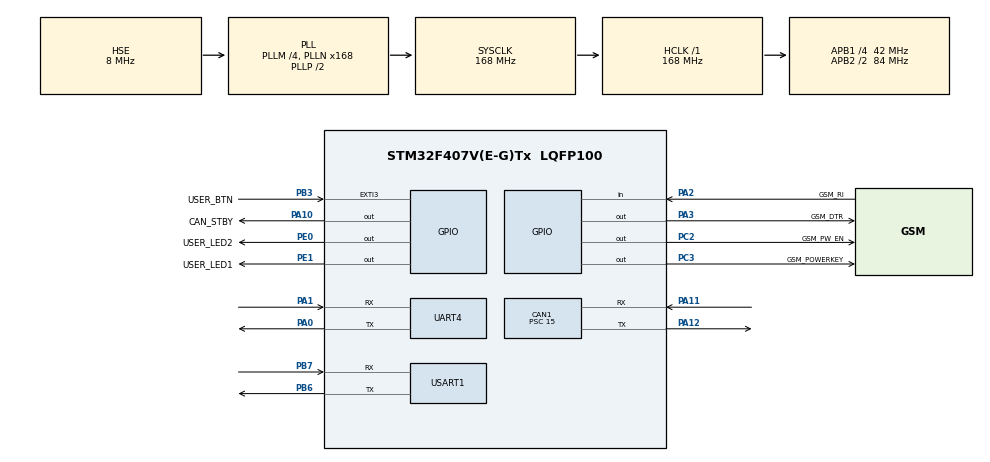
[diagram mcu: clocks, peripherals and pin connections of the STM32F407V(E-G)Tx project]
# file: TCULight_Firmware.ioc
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CAN1.ABOM=ENABLE
CAN1.BS1=CAN_BS1_4TQ
CAN1.BS2=CAN_BS2_2TQ
CAN1.CalculateBaudRate=400000
CAN1.CalculateTimeBit=2499.99
CAN1.CalculateTimeQuantum=357.14285714285717
CAN1.NART=ENABLE
CAN1.Prescaler=15
FREERTOS.BinarySemaphores01=can_com_sema,Dynamic,NULL;sim7600_sema,Dynamic,NULL
FREERTOS.Tasks01=can_com_task,24,128,can_com_task_fun,Default,NULL,Dynamic,NULL,NULL;sim7600_task,24,128,sim7600_task_fun,Default,NULL,Dynamic,NULL,NULL
Mcu.Family=STM32F4
Mcu.Name=STM32F407V(E-G)Tx
Mcu.Package=LQFP100
NVIC.CAN1_RX0_IRQn=true\:5\:0\:false\:false\:true\:true\:true\:true
NVIC.CAN1_RX1_IRQn=true\:5\:0\:false\:false\:true\:true\:true\:true
NVIC.CAN1_SCE_IRQn=true\:5\:0\:false\:false\:true\:true\:true\:true
NVIC.CAN1_TX_IRQn=true\:5\:0\:false\:false\:true\:true\:true\:true
NVIC.EXTI3_IRQn=true\:5\:0\:false\:false\:true\:true\:true\:true
NVIC.PriorityGroup=NVIC_PRIORITYGROUP_4
NVIC.TIM6_DAC_IRQn=true\:0\:0\:false\:false\:true\:false\:false\:true
NVIC.TimeBase=TIM6_DAC_IRQn
NVIC.TimeBaseIP=TIM6
PA0-WKUP.Mode=Asynchronous
PA0-WKUP.Signal=UART4_TX
PA1.Mode=Asynchronous
PA1.Signal=UART4_RX
PA10.GPIO_Label=CAN_STBY
PA10.GPIO_PuPd=GPIO_PULLDOWN
PA10.GPIO_Speed=GPIO_SPEED_FREQ_VERY_HIGH
PA10.Signal=GPIO_Output
PA11.Mode=CAN_Activate
PA11.Signal=CAN1_RX
PA12.Mode=CAN_Activate
PA12.Signal=CAN1_TX
PA13.Mode=Serial_Wire
PA13.Signal=SYS_JTMS-SWDIO
PA14.Mode=Serial_Wire
PA14.Signal=SYS_JTCK-SWCLK
PA2.GPIO_Label=GSM_RI
PA2.GPIO_PuPd=GPIO_PULLDOWN
PA2.Signal=GPIO_Input
PA3.GPIO_Label=GSM_DTR
PA3.GPIO_PuPd=GPIO_PULLDOWN
PA3.GPIO_Speed=GPIO_SPEED_FREQ_VERY_HIGH
PA3.Signal=GPIO_Output
PB3.GPIO_Label=USER_BTN
PB3.GPIO_ModeDefaultEXTI=GPIO_MODE_IT_RISING
PB3.GPIO_PuPd=GPIO_PULLDOWN
PB3.Signal=GPXTI3
PB6.Mode=Asynchronous
PB6.Signal=USART1_TX
PB7.Mode=Asynchronous
PB7.Signal=USART1_RX
PC14-OSC32_IN.Mode=LSE-External-Oscillator
PC14-OSC32_IN.Signal=RCC_OSC32_IN
PC15-OSC32_OUT.Mode=LSE-External-Oscillator
PC15-OSC32_OUT.Signal=RCC_OSC32_OUT
PC2.GPIO_Label=GSM_PW_EN
PC2.GPIO_PuPd=GPIO_PULLDOWN
PC2.GPIO_Speed=GPIO_SPEED_FREQ_VERY_HIGH
PC2.Signal=GPIO_Output
PC3.GPIO_Label=GSM_POWERKEY
PC3.GPIO_PuPd=GPIO_PULLDOWN
PC3.GPIO_Speed=GPIO_SPEED_FREQ_VERY_HIGH
PC3.Signal=GPIO_Output
PE0.GPIO_Label=USER_LED2
PE0.GPIO_PuPd=GPIO_PULLUP
PE0.GPIO_Speed=GPIO_SPEED_FREQ_VERY_HIGH
PE0.PinState=GPIO_PIN_SET
PE0.Signal=GPIO_Output
PE1.GPIO_Label=USER_LED1
PE1.GPIO_PuPd=GPIO_PULLUP
PE1.GPIO_Speed=GPIO_SPEED_FREQ_VERY_HIGH
PE1.PinState=GPIO_PIN_SET
PE1.Signal=GPIO_Output
PH0-OSC_IN.Mode=HSE-External-Oscillator
PH0-OSC_IN.Signal=RCC_OSC_IN
PH1-OSC_OUT.Mode=HSE-External-Oscillator
PH1-OSC_OUT.Signal=RCC_OSC_OUT
ProjectManager.HeapSize=0x200
ProjectManager.StackSize=0x400
ProjectManager.TargetToolchain=MDK-ARM V5
RCC.48MHZClocksFreq_Value=84000000
RCC.AHBFreq_Value=168000000
RCC.APB1CLKDivider=RCC_HCLK_DIV4
RCC.APB1Freq_Value=42000000
RCC.APB1TimFreq_Value=84000000
RCC.APB2CLKDivider=RCC_HCLK_DIV2
RCC.APB2Freq_Value=84000000
RCC.APB2TimFreq_Value=168000000
RCC.CortexFreq_Value=168000000
RCC.HCLKFreq_Value=168000000
RCC.HSE_VALUE=8000000
RCC.HSI_VALUE=16000000
RCC.PLLM=4
RCC.PLLN=168
RCC.PLLSourceVirtual=RCC_PLLSOURCE_HSE
RCC.SYSCLKFreq_VALUE=168000000
RCC.SYSCLKSource=RCC_SYSCLKSOURCE_PLLCLK
RCC.VCOOutputFreq_Value=336000000
UART4.VirtualMode=Asynchronous
USART1.VirtualMode=VM_ASYNC
VP_FREERTOS_VS_CMSIS_V2.Mode=CMSIS_V2
VP_SYS_VS_tim6.Mode=TIM6
board=custom

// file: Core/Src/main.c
/* USER CODE BEGIN Header */
/**
  ******************************************************************************
  * @file           : main.c
  * @brief          : Main program body
  ******************************************************************************
  * @attention
  *
  * <h2><center>&copy; Copyright (c) 2023 STMicroelectronics.
  * All rights reserved.</center></h2>
  *
  * This software component is licensed by ST under BSD 3-Clause license,
  * the "License"; You may not use this file except in compliance with the
  * License. You may obtain a copy of the License at:
  *                        opensource.org/licenses/BSD-3-Clause
  *
  ******************************************************************************
  */
/* USER CODE END Header */
#include "main.h"
#include "cmsis_os.h"

/* USER CODE BEGIN Includes */

#include "stdio.h"
#include "string.h"

/* USER CODE END Includes */

CAN_HandleTypeDef hcan1;

UART_HandleTypeDef huart4;
UART_HandleTypeDef huart1;

/* Definitions for can_com_task */
osThreadId_t can_com_taskHandle;
const osThreadAttr_t can_com_task_attributes = {
  .name = "can_com_task",
  .stack_size = 128 * 4,
  .priority = (osPriority_t) osPriorityNormal,
};
/* Definitions for sim7600_task */
osThreadId_t sim7600_taskHandle;
const osThreadAttr_t sim7600_task_attributes = {
  .name = "sim7600_task",
  .stack_size = 128 * 4,
  .priority = (osPriority_t) osPriorityNormal,
};
/* Definitions for can_com_sema */
osSemaphoreId_t can_com_semaHandle;
const osSemaphoreAttr_t can_com_sema_attributes = {
  .name = "can_com_sema"
};
/* Definitions for sim7600_sema */
osSemaphoreId_t sim7600_semaHandle;
const osSemaphoreAttr_t sim7600_sema_attributes = {
  .name = "sim7600_sema"
};
/* USER CODE BEGIN PV */
CAN_FilterTypeDef Scanfilter;

/* USER CODE END PV */

void SystemClock_Config(void);
static void MX_GPIO_Init(void);
static void MX_CAN1_Init(void);
static void MX_USART1_UART_Init(void);
static void MX_UART4_Init(void);
void can_com_task_fun(void *argument);
void sim7600_task_fun(void *argument);

/* USER CODE BEGIN 0 */
#ifdef __GNUC__    //debug printf configuration.
 #define PUTCHAR_PROTOTYPE int __io_putchar(int ch)
#else
 #define PUTCHAR_PROTOTYPE int fputc(int ch, FILE *f)
#endif
/* USER CODE END 0 */

int main(void)
{

  /* MCU Configuration--------------------------------------------------------*/

  /* Reset of all peripherals, Initializes the Flash interface and the Systick. */
  HAL_Init();

  /* Configure the system clock */
  SystemClock_Config();

  /* Initialize all configured peripherals */
  MX_GPIO_Init();
  MX_CAN1_Init();
  MX_USART1_UART_Init();
  MX_UART4_Init();
  /* USER CODE BEGIN 2 */
	HAL_GPIO_WritePin(USER_LED1_GPIO_Port, USER_LED1_Pin, GPIO_PIN_RESET);

	can_com_initialize();
  sim7600_initialize();
  /* USER CODE END 2 */

  /* Init scheduler */
  osKernelInitialize();

  /* Create the semaphores(s) */
  /* creation of can_com_sema */
  can_com_semaHandle = osSemaphoreNew(1, 1, &can_com_sema_attributes);

  /* creation of sim7600_sema */
  sim7600_semaHandle = osSemaphoreNew(1, 1, &sim7600_sema_attributes);

  /* USER CODE BEGIN RTOS_QUEUES */
  /* add queues, ... */
	osSemaphoreAcquire(can_com_semaHandle, osWaitForever);
  /* USER CODE END RTOS_QUEUES */

  /* Create the thread(s) */
  /* creation of can_com_task */
  can_com_taskHandle = osThreadNew(can_com_task_fun, NULL, &can_com_task_attributes);

  /* creation of sim7600_task */
  sim7600_taskHandle = osThreadNew(sim7600_task_fun, NULL, &sim7600_task_attributes);

  /* Start scheduler */
  osKernelStart();

  /* We should never get here as control is now taken by the scheduler */
  /* Infinite loop */
  while (1)
  {

  }
}

void SystemClock_Config(void)
{
  RCC_OscInitTypeDef RCC_OscInitStruct = {0};
  RCC_ClkInitTypeDef RCC_ClkInitStruct = {0};

  /** Configure the main internal regulator output voltage
  */
  __HAL_RCC_PWR_CLK_ENABLE();
  __HAL_PWR_VOLTAGESCALING_CONFIG(PWR_REGULATOR_VOLTAGE_SCALE1);
  /** Initializes the RCC Oscillators according to the specified parameters
  * in the RCC_OscInitTypeDef structure.
  */
  RCC_OscInitStruct.OscillatorType = RCC_OSCILLATORTYPE_HSE;
  RCC_OscInitStruct.HSEState = RCC_HSE_ON;
  RCC_OscInitStruct.PLL.PLLState = RCC_PLL_ON;
  RCC_OscInitStruct.PLL.PLLSource = RCC_PLLSOURCE_HSE;
  RCC_OscInitStruct.PLL.PLLM = 4;
  RCC_OscInitStruct.PLL.PLLN = 168;
  RCC_OscInitStruct.PLL.PLLP = RCC_PLLP_DIV2;
  RCC_OscInitStruct.PLL.PLLQ = 4;
  if (HAL_RCC_OscConfig(&RCC_OscInitStruct) != HAL_OK)
  {
    Error_Handler();
  }
  /** Initializes the CPU, AHB and APB buses clocks
  */
  RCC_ClkInitStruct.ClockType = RCC_CLOCKTYPE_HCLK|RCC_CLOCKTYPE_SYSCLK
                              |RCC_CLOCKTYPE_PCLK1|RCC_CLOCKTYPE_PCLK2;
  RCC_ClkInitStruct.SYSCLKSource = RCC_SYSCLKSOURCE_PLLCLK;
  RCC_ClkInitStruct.AHBCLKDivider = RCC_SYSCLK_DIV1;
  RCC_ClkInitStruct.APB1CLKDivider = RCC_HCLK_DIV4;
  RCC_ClkInitStruct.APB2CLKDivider = RCC_HCLK_DIV2;

  if (HAL_RCC_ClockConfig(&RCC_ClkInitStruct, FLASH_LATENCY_5) != HAL_OK)
  {
    Error_Handler();
  }
}

static void MX_CAN1_Init(void)
{

  hcan1.Instance = CAN1;
  hcan1.Init.Prescaler = 15;
  hcan1.Init.Mode = CAN_MODE_NORMAL;
  hcan1.Init.SyncJumpWidth = CAN_SJW_1TQ;
  hcan1.Init.TimeSeg1 = CAN_BS1_4TQ;
  hcan1.Init.TimeSeg2 = CAN_BS2_2TQ;
  hcan1.Init.TimeTriggeredMode = DISABLE;
  hcan1.Init.AutoBusOff = ENABLE;
  hcan1.Init.AutoWakeUp = DISABLE;
  hcan1.Init.AutoRetransmission = ENABLE;
  hcan1.Init.ReceiveFifoLocked = DISABLE;
  hcan1.Init.TransmitFifoPriority = DISABLE;
  if (HAL_CAN_Init(&hcan1) != HAL_OK)
  {
    Error_Handler();
  }
  /* USER CODE BEGIN CAN1_Init 2 */

  Scanfilter.FilterActivation = CAN_FILTER_ENABLE;
	Scanfilter.FilterBank = 0;
	Scanfilter.FilterFIFOAssignment = CAN_FILTER_FIFO0;
	Scanfilter.FilterIdHigh = 0x0000;
	Scanfilter.FilterIdLow = 0x0000;
	Scanfilter.FilterMaskIdHigh = 0x0000;
	Scanfilter.FilterMaskIdLow = 0x0000;
	Scanfilter.FilterMode = CAN_FILTERMODE_IDMASK;
	Scanfilter.FilterScale = CAN_FILTERSCALE_32BIT;
	Scanfilter.SlaveStartFilterBank = 14;

	if(HAL_CAN_ConfigFilter(&hcan1, &Scanfilter)!=HAL_OK)
	{
		Error_Handler();
	}
  /* USER CODE END CAN1_Init 2 */

}

static void MX_UART4_Init(void)
{

  huart4.Instance = UART4;
  huart4.Init.BaudRate = 115200;
  huart4.Init.WordLength = UART_WORDLENGTH_8B;
  huart4.Init.StopBits = UART_STOPBITS_1;
  huart4.Init.Parity = UART_PARITY_NONE;
  huart4.Init.Mode = UART_MODE_TX_RX;
  huart4.Init.HwFlowCtl = UART_HWCONTROL_NONE;
  huart4.Init.OverSampling = UART_OVERSAMPLING_16;
  if (HAL_UART_Init(&huart4) != HAL_OK)
  {
    Error_Handler();
  }

}

static void MX_USART1_UART_Init(void)
{

  huart1.Instance = USART1;
  huart1.Init.BaudRate = 115200;
  huart1.Init.WordLength = UART_WORDLENGTH_8B;
  huart1.Init.StopBits = UART_STOPBITS_1;
  huart1.Init.Parity = UART_PARITY_NONE;
  huart1.Init.Mode = UART_MODE_TX_RX;
  huart1.Init.HwFlowCtl = UART_HWCONTROL_NONE;
  huart1.Init.OverSampling = UART_OVERSAMPLING_16;
  if (HAL_UART_Init(&huart1) != HAL_OK)
  {
    Error_Handler();
  }

}

static void MX_GPIO_Init(void)
{
  GPIO_InitTypeDef GPIO_InitStruct = {0};

  /* GPIO Ports Clock Enable */
  __HAL_RCC_GPIOC_CLK_ENABLE();
  __HAL_RCC_GPIOH_CLK_ENABLE();
  __HAL_RCC_GPIOA_CLK_ENABLE();
  __HAL_RCC_GPIOB_CLK_ENABLE();
  __HAL_RCC_GPIOE_CLK_ENABLE();

  /*Configure GPIO pin Output Level */
  HAL_GPIO_WritePin(GPIOC, GSM_PW_EN_Pin|GSM_POWERKEY_Pin, GPIO_PIN_RESET);

  /*Configure GPIO pin Output Level */
  HAL_GPIO_WritePin(GPIOA, GSM_DTR_Pin|CAN_STBY_Pin, GPIO_PIN_RESET);

  /*Configure GPIO pin Output Level */
  HAL_GPIO_WritePin(GPIOE, USER_LED2_Pin|USER_LED1_Pin, GPIO_PIN_SET);

  /*Configure GPIO pins : GSM_PW_EN_Pin GSM_POWERKEY_Pin */
  GPIO_InitStruct.Pin = GSM_PW_EN_Pin|GSM_POWERKEY_Pin;
  GPIO_InitStruct.Mode = GPIO_MODE_OUTPUT_PP;
  GPIO_InitStruct.Pull = GPIO_PULLDOWN;
  GPIO_InitStruct.Speed = GPIO_SPEED_FREQ_VERY_HIGH;
  HAL_GPIO_Init(GPIOC, &GPIO_InitStruct);

  /*Configure GPIO pin : GSM_RI_Pin */
  GPIO_InitStruct.Pin = GSM_RI_Pin;
  GPIO_InitStruct.Mode = GPIO_MODE_INPUT;
  GPIO_InitStruct.Pull = GPIO_PULLDOWN;
  HAL_GPIO_Init(GSM_RI_GPIO_Port, &GPIO_InitStruct);

  /*Configure GPIO pins : GSM_DTR_Pin CAN_STBY_Pin */
  GPIO_InitStruct.Pin = GSM_DTR_Pin|CAN_STBY_Pin;
  GPIO_InitStruct.Mode = GPIO_MODE_OUTPUT_PP;
  GPIO_InitStruct.Pull = GPIO_PULLDOWN;
  GPIO_InitStruct.Speed = GPIO_SPEED_FREQ_VERY_HIGH;
  HAL_GPIO_Init(GPIOA, &GPIO_InitStruct);

  /*Configure GPIO pin : USER_BTN_Pin */
  GPIO_InitStruct.Pin = USER_BTN_Pin;
  GPIO_InitStruct.Mode = GPIO_MODE_IT_RISING;
  GPIO_InitStruct.Pull = GPIO_PULLDOWN;
  HAL_GPIO_Init(USER_BTN_GPIO_Port, &GPIO_InitStruct);

  /*Configure GPIO pins : USER_LED2_Pin USER_LED1_Pin */
  GPIO_InitStruct.Pin = USER_LED2_Pin|USER_LED1_Pin;
  GPIO_InitStruct.Mode = GPIO_MODE_OUTPUT_PP;
  GPIO_InitStruct.Pull = GPIO_PULLUP;
  GPIO_InitStruct.Speed = GPIO_SPEED_FREQ_VERY_HIGH;
  HAL_GPIO_Init(GPIOE, &GPIO_InitStruct);

  /* EXTI interrupt init*/
  HAL_NVIC_SetPriority(EXTI3_IRQn, 5, 0);
  HAL_NVIC_EnableIRQ(EXTI3_IRQn);

}

/* USER CODE BEGIN 4 */
PUTCHAR_PROTOTYPE
{
	HAL_UART_Transmit(&huart1, (uint8_t *)&ch, 1 , 0xffff);
  return ch;
}

/* USER CODE END 4 */

void can_com_task_fun(void *argument)
{
  /* USER CODE BEGIN 5 */
  /* Infinite loop */
  for(;;)
  {
		osSemaphoreAcquire(can_com_semaHandle, osWaitForever);
    can_com_task_handle();
    osDelay(1);
  }
  /* USER CODE END 5 */
}

void sim7600_task_fun(void *argument)
{
  /* USER CODE BEGIN sim7600_task_fun */
  /* Infinite loop */
  for(;;)
  {
		osSemaphoreAcquire(sim7600_semaHandle, osWaitForever);
		sim7600_task_handle();
    osDelay(1);
  }
  /* USER CODE END sim7600_task_fun */
}

 /**
  * @brief  Period elapsed callback in non blocking mode
  * @note   This function is called  when TIM6 interrupt took place, inside
  * HAL_TIM_IRQHandler(). It makes a direct call to HAL_IncTick() to increment
  * a global variable "uwTick" used as application time base.
  * @param  htim : TIM handle
  * @retval None
  */
void HAL_TIM_PeriodElapsedCallback(TIM_HandleTypeDef *htim)
{
  if (htim->Instance == TIM6) {
    HAL_IncTick();
  }
}

void Error_Handler(void)
{
  __disable_irq();
  while (1)
  {
  }
}

/************************ (C) COPYRIGHT STMicroelectronics *****END OF FILE****/
